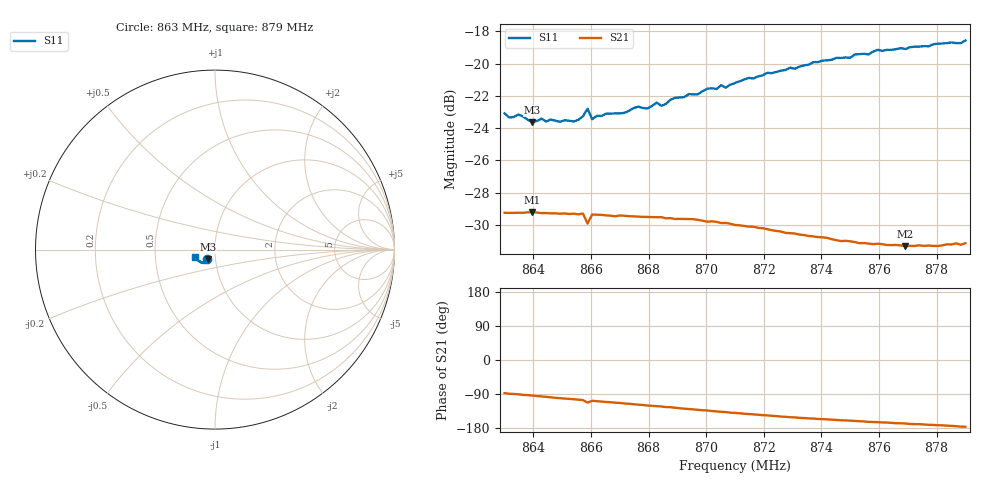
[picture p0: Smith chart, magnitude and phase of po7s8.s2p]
# HZ S RI R 50
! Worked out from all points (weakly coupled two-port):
!   101 points, 863 MHz to 879 MHz, reference 50 ohm
!   highest |S21| = -29.20 dB at 863.96 MHz (marker M1); lowest = -31.3 dB at 876.92 MHz (marker M2)
!   lowest |S11| = -23.6 dB at 863.96 MHz (marker M3), VSWR 1.14, Z = 46 - j4.91 ohm
!   |S11| at or under -10 dB: start of sweep to end of sweep
!   S12 and S22 are empty: the file has one direction only
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8.63e8  -0.0441 -0.0545  0.00153 -0.0345  0 0  0 0
8.6316e8  -0.0433 -0.0525  0.000592 -0.0345  0 0  0 0
8.6348e8  -0.0429 -0.0548  -0.000346 -0.0345  0 0  0 0
8.6396e8  -0.0389 -0.0531  -0.00233 -0.0346  0 0  0 0
8.6428e8  -0.038 -0.0558  -0.00368 -0.0342  0 0  0 0
8.654e8  -0.035 -0.0562  -0.00809 -0.0333  0 0  0 0
8.6572e8  -0.0361 -0.0585  -0.00932 -0.0331  0 0  0 0
8.6588e8  -0.0409 -0.0598  -0.0122 -0.0296  0 0  0 0
8.6604e8  -0.0341 -0.0579  -0.0103 -0.0325  0 0  0 0
8.6764e8  -0.0352 -0.0646  -0.0157 -0.0297  0 0  0 0
8.6796e8  -0.0356 -0.0633  -0.0168 -0.029  0 0  0 0
8.6828e8  -0.0356 -0.0668  -0.0176 -0.0284  0 0  0 0
8.6844e8  -0.0371 -0.064  -0.0181 -0.0282  0 0  0 0
8.6892e8  -0.0386 -0.0682  -0.0194 -0.0267  0 0  0 0
8.6972e8  -0.0411 -0.0691  -0.0218 -0.0246  0 0  0 0
8.7052e8  -0.0468 -0.0718  -0.0233 -0.022  0 0  0 0
8.7068e8  -0.0447 -0.0713  -0.0236 -0.0217  0 0  0 0
8.71e8  -0.0478 -0.0727  -0.0241 -0.0205  0 0  0 0
8.7372e8  -0.0682 -0.0745  -0.0263 -0.0125  0 0  0 0
8.7644e8  -0.0916 -0.0615  -0.0266 -0.00664  0 0  0 0
8.7692e8  -0.0943 -0.0584  -0.0266 -0.00582  0 0  0 0
8.79e8  -0.1111 -0.0396  -0.0277 -0.00186  0 0  0 0
